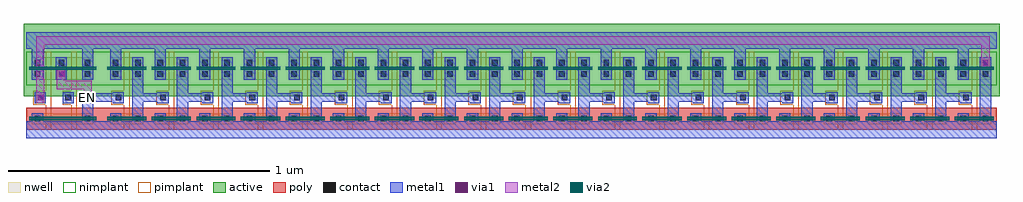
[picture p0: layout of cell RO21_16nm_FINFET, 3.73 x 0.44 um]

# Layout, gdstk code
import gdstk
lib = gdstk.Library(unit=1e-6, precision=1e-09)
def R(c, l, rs):  # rectangles x0, y0, x1, y1
    for r in rs: c.add(gdstk.rectangle(r[:2], r[2:], *l))
def A(c, l, x, y, w, h, nx, ny, dx, dy):  # array of equal rectangles
    R(c, l, [(x+i*dx, y+j*dy, x+i*dx+w, y+j*dy+h) for i in range(nx) for j in range(ny)])
active = (1, 0)
nwell = (2, 0)
poly = (3, 0)
nimplant = (4, 0)
pimplant = (5, 0)
contact = (6, 0)
metal1 = (7, 0)
via1 = (8, 0)
metal2 = (9, 0)
via2 = (10, 0)

ro21_16nm_finfet = lib.new_cell('RO21_16nm_FINFET')
A(ro21_16nm_finfet, active, 0.629, 0.16, 0.192, 0.277, 3, 1, 0.171, 0)
A(ro21_16nm_finfet, active, 1.141, 0.16, 0.192, 0.277, 3, 1, 0.171, 0)
A(ro21_16nm_finfet, active, 1.653, 0.16, 0.192, 0.277, 3, 1, 0.171, 0)
A(ro21_16nm_finfet, active, 2.165, 0.16, 0.192, 0.277, 3, 1, 0.171, 0)
A(ro21_16nm_finfet, active, 2.677, 0.16, 0.192, 0.277, 3, 1, 0.171, 0)
A(ro21_16nm_finfet, active, 3.189, 0.16, 0.192, 0.277, 3, 1, 0.171, 0)
R(ro21_16nm_finfet, active, [(-0.011,0.16,0.309,0.437), (0.288,0.16,0.48,0.437), (0.459,0.16,0.651,0.437)])
A(ro21_16nm_finfet, nwell, 0.661, 0.053, 0.128, 0.043, 3, 1, 0.171, 0)
A(ro21_16nm_finfet, nwell, 1.173, 0.053, 0.128, 0.043, 3, 1, 0.171, 0)
A(ro21_16nm_finfet, nwell, 1.685, 0.053, 0.128, 0.043, 3, 1, 0.171, 0)
A(ro21_16nm_finfet, nwell, 2.197, 0.053, 0.128, 0.043, 3, 1, 0.171, 0)
A(ro21_16nm_finfet, nwell, 2.709, 0.053, 0.128, 0.043, 3, 1, 0.171, 0)
A(ro21_16nm_finfet, nwell, 3.221, 0.053, 0.128, 0.043, 3, 1, 0.171, 0)
A(ro21_16nm_finfet, nwell, 0.661, 0.224, 0.128, 0.085, 3, 1, 0.171, 0)
A(ro21_16nm_finfet, nwell, 1.173, 0.224, 0.128, 0.085, 3, 1, 0.171, 0)
A(ro21_16nm_finfet, nwell, 1.685, 0.224, 0.128, 0.085, 3, 1, 0.171, 0)
A(ro21_16nm_finfet, nwell, 2.197, 0.224, 0.128, 0.085, 3, 1, 0.171, 0)
A(ro21_16nm_finfet, nwell, 2.709, 0.224, 0.128, 0.085, 3, 1, 0.171, 0)
A(ro21_16nm_finfet, nwell, 3.221, 0.224, 0.128, 0.085, 3, 1, 0.171, 0)
R(ro21_16nm_finfet, nwell, [(0.021,0.053,0.256,0.096), (0.32,0.053,0.448,0.096), (0.491,0.053,0.619,0.096), (0.021,0.224,0.256,0.309), (0.32,0.224,0.448,0.309), (0.491,0.224,0.619,0.309)])
A(ro21_16nm_finfet, poly, 0.299, 0.032, 0.17, 0.085, 7, 1, 0.512, 0)
R(ro21_16nm_finfet, poly, [(0,0.032,0.299,0.117), (0.469,0.032,0.64,0.117), (0.64,0.032,0.811,0.117), (0.981,0.032,1.152,0.117), (1.152,0.032,1.323,0.117), (1.493,0.032,1.664,0.117), (1.664,0.032,1.835,0.117), (2.005,0.032,2.176,0.117), (2.176,0.032,2.347,0.117), (2.517,0.032,2.688,0.117), (2.688,0.032,2.859,0.117), (3.029,0.032,3.2,0.117), (3.2,0.032,3.371,0.117), (3.541,0.032,3.712,0.117)])
A(ro21_16nm_finfet, nimplant, 0.299, 0.203, 0.17, 0.128, 7, 1, 0.512, 0)
R(ro21_16nm_finfet, nimplant, [(0,0.203,0.299,0.331), (0.469,0.203,0.64,0.331), (0.64,0.203,0.811,0.331), (0.981,0.203,1.152,0.331), (1.152,0.203,1.323,0.331), (1.493,0.203,1.664,0.331), (1.664,0.203,1.835,0.331), (2.005,0.203,2.176,0.331), (2.176,0.203,2.347,0.331), (2.517,0.203,2.688,0.331), (2.688,0.203,2.859,0.331), (3.029,0.203,3.2,0.331), (3.2,0.203,3.371,0.331), (3.541,0.203,3.712,0.331)])
A(ro21_16nm_finfet, pimplant, 0.373, 0.032, 0.022, 0.299, 7, 1, 0.512, 0)
A(ro21_16nm_finfet, pimplant, 0.325, 0.128, 0.054, 0.053, 7, 1, 0.512, 0)
R(ro21_16nm_finfet, pimplant, [(0.075,0.032,0.096,0.331), (0.171,0.032,0.192,0.331), (0.544,0.032,0.565,0.331), (0.715,0.032,0.736,0.331), (1.056,0.032,1.077,0.331), (1.227,0.032,1.248,0.331), (1.568,0.032,1.589,0.331), (1.739,0.032,1.76,0.331), (2.08,0.032,2.101,0.331), (2.251,0.032,2.272,0.331), (2.592,0.032,2.613,0.331), (2.763,0.032,2.784,0.331), (3.104,0.032,3.125,0.331), (3.275,0.032,3.296,0.331), (3.616,0.032,3.637,0.331), (0.027,0.128,0.08,0.181), (0.139,0.128,0.192,0.181), (0.496,0.128,0.549,0.181), (0.667,0.128,0.72,0.181), (1.008,0.128,1.061,0.181), (1.179,0.128,1.232,0.181), (1.52,0.128,1.573,0.181), (1.691,0.128,1.744,0.181), (2.032,0.128,2.085,0.181), (2.203,0.128,2.256,0.181), (2.544,0.128,2.597,0.181), (2.715,0.128,2.768,0.181), (3.056,0.128,3.109,0.181), (3.227,0.128,3.28,0.181), (3.568,0.128,3.621,0.181)])
A(ro21_16nm_finfet, contact, 0.501, 0.064, 0.022, 0.021, 13, 2, 0.256, 0.171)
A(ro21_16nm_finfet, contact, 0.341, 0.144, 0.022, 0.021, 7, 1, 0.512, 0)
A(ro21_16nm_finfet, contact, 0.501, 0.277, 0.022, 0.022, 13, 1, 0.256, 0)
R(ro21_16nm_finfet, contact, [(0.032,0.064,0.053,0.085), (0.224,0.064,0.245,0.085), (0.331,0.064,0.352,0.085), (0.416,0.064,0.437,0.085), (0.587,0.064,0.608,0.085), (0.672,0.064,0.693,0.085), (0.843,0.064,0.864,0.085), (0.928,0.064,0.949,0.085), (1.099,0.064,1.12,0.085), (1.184,0.064,1.205,0.085), (1.355,0.064,1.376,0.085), (1.44,0.064,1.461,0.085), (1.611,0.064,1.632,0.085), (1.696,0.064,1.717,0.085), (1.867,0.064,1.888,0.085), (1.952,0.064,1.973,0.085), (2.123,0.064,2.144,0.085), (2.208,0.064,2.229,0.085), (2.379,0.064,2.4,0.085), (2.464,0.064,2.485,0.085), (2.635,0.064,2.656,0.085), (2.72,0.064,2.741,0.085), (2.891,0.064,2.912,0.085), (2.976,0.064,2.997,0.085), (3.147,0.064,3.168,0.085), (3.232,0.064,3.253,0.085), (3.403,0.064,3.424,0.085), (3.488,0.064,3.509,0.085), (3.659,0.064,3.68,0.085), (0.043,0.144,0.064,0.165), (0.149,0.144,0.171,0.165), (0.512,0.144,0.533,0.165), (0.683,0.144,0.704,0.165), (1.024,0.144,1.045,0.165), (1.195,0.144,1.216,0.165), (1.536,0.144,1.557,0.165), (1.707,0.144,1.728,0.165), (2.048,0.144,2.069,0.165), (2.219,0.144,2.24,0.165), (2.56,0.144,2.581,0.165), (2.731,0.144,2.752,0.165), (3.072,0.144,3.093,0.165), (3.243,0.144,3.264,0.165), (3.584,0.144,3.605,0.165), (0.032,0.235,0.053,0.256), (0.123,0.235,0.144,0.256), (0.224,0.235,0.245,0.256), (0.331,0.235,0.352,0.256), (0.416,0.235,0.437,0.256), (0.587,0.235,0.608,0.256), (0.672,0.235,0.693,0.256), (0.843,0.235,0.864,0.256), (0.928,0.235,0.949,0.256), (1.099,0.235,1.12,0.256), (1.184,0.235,1.205,0.256), (1.355,0.235,1.376,0.256), (1.44,0.235,1.461,0.256), (1.611,0.235,1.632,0.256), (1.696,0.235,1.717,0.256), (1.867,0.235,1.888,0.256), (1.952,0.235,1.973,0.256), (2.123,0.235,2.144,0.256), (2.208,0.235,2.229,0.256), (2.379,0.235,2.4,0.256), (2.464,0.235,2.485,0.256), (2.635,0.235,2.656,0.256), (2.72,0.235,2.741,0.256), (2.891,0.235,2.912,0.256), (2.976,0.235,2.997,0.256), (3.147,0.235,3.168,0.256), (3.232,0.235,3.253,0.256), (3.403,0.235,3.424,0.256), (3.488,0.235,3.509,0.256), (3.659,0.235,3.68,0.256), (0.032,0.277,0.053,0.299), (0.123,0.277,0.144,0.299), (0.224,0.277,0.245,0.299), (0.331,0.277,0.352,0.299), (0.416,0.277,0.437,0.299), (0.587,0.277,0.608,0.299), (0.672,0.277,0.693,0.299), (0.843,0.277,0.864,0.299), (0.928,0.277,0.949,0.299), (1.099,0.277,1.12,0.299), (1.184,0.277,1.205,0.299), (1.355,0.277,1.376,0.299), (1.44,0.277,1.461,0.299), (1.611,0.277,1.632,0.299), (1.696,0.277,1.717,0.299), (1.867,0.277,1.888,0.299), (1.952,0.277,1.973,0.299), (2.123,0.277,2.144,0.299), (2.208,0.277,2.229,0.299), (2.379,0.277,2.4,0.299), (2.464,0.277,2.485,0.299), (2.635,0.277,2.656,0.299), (2.72,0.277,2.741,0.299), (2.891,0.277,2.912,0.299), (2.976,0.277,2.997,0.299), (3.147,0.277,3.168,0.299), (3.232,0.277,3.253,0.299), (3.403,0.277,3.424,0.299), (3.488,0.277,3.509,0.299), (3.659,0.277,3.68,0.299)])
A(ro21_16nm_finfet, metal1, 0.299, 0, 0.17, 0.064, 7, 2, 0.512, 0.341)
A(ro21_16nm_finfet, metal1, 0.491, 0, 0.042, 0.096, 7, 1, 0.512, 0)
A(ro21_16nm_finfet, metal1, 0.747, 0.053, 0.042, 0.256, 6, 1, 0.512, 0)
A(ro21_16nm_finfet, metal1, 0.331, 0.133, 0.042, 0.043, 7, 1, 0.512, 0)
A(ro21_16nm_finfet, metal1, 0.789, 0.139, 0.054, 0.032, 6, 1, 0.512, 0)
A(ro21_16nm_finfet, metal1, 0.491, 0.224, 0.042, 0.181, 7, 1, 0.512, 0)
R(ro21_16nm_finfet, metal1, [(0,0,0.299,0.064), (0.021,0,0.064,0.096), (0.32,0,0.363,0.096), (0.469,0,0.64,0.064), (0.64,0,0.811,0.064), (0.661,0,0.704,0.096), (0.832,0,0.875,0.096), (0.981,0,1.152,0.064), (1.152,0,1.323,0.064), (1.173,0,1.216,0.096), (1.344,0,1.387,0.096), (1.493,0,1.664,0.064), (1.664,0,1.835,0.064), (1.685,0,1.728,0.096), (1.856,0,1.899,0.096), (2.005,0,2.176,0.064), (2.176,0,2.347,0.064), (2.197,0,2.24,0.096), (2.368,0,2.411,0.096), (2.517,0,2.688,0.064), (2.688,0,2.859,0.064), (2.709,0,2.752,0.096), (2.88,0,2.923,0.096), (3.029,0,3.2,0.064), (3.2,0,3.371,0.064), (3.221,0,3.264,0.096), (3.392,0,3.435,0.096), (3.541,0,3.712,0.064), (0.213,0.053,0.256,0.171), (0.405,0.053,0.448,0.309), (0.576,0.053,0.619,0.309), (0.917,0.053,0.96,0.309), (1.088,0.053,1.131,0.309), (1.429,0.053,1.472,0.309), (1.6,0.053,1.643,0.309), (1.941,0.053,1.984,0.309), (2.112,0.053,2.155,0.309), (2.453,0.053,2.496,0.309), (2.624,0.053,2.667,0.309), (2.965,0.053,3.008,0.309), (3.136,0.053,3.179,0.309), (3.477,0.053,3.52,0.309), (3.648,0.053,3.691,0.309), (0.032,0.133,0.075,0.176), (0.139,0.133,0.181,0.176), (0.501,0.133,0.544,0.176), (0.672,0.133,0.715,0.176), (1.013,0.133,1.056,0.176), (1.184,0.133,1.227,0.176), (1.525,0.133,1.568,0.176), (1.696,0.133,1.739,0.176), (2.037,0.133,2.08,0.176), (2.208,0.133,2.251,0.176), (2.549,0.133,2.592,0.176), (2.72,0.133,2.763,0.176), (3.061,0.133,3.104,0.176), (3.232,0.133,3.275,0.176), (3.573,0.133,3.616,0.176), (0.256,0.139,0.331,0.171), (0.448,0.139,0.501,0.171), (0.619,0.139,0.672,0.171), (0.96,0.139,1.013,0.171), (1.131,0.139,1.184,0.171), (1.472,0.139,1.525,0.171), (1.643,0.139,1.696,0.171), (1.984,0.139,2.037,0.171), (2.155,0.139,2.208,0.171), (2.496,0.139,2.549,0.171), (2.667,0.139,2.72,0.171), (3.008,0.139,3.061,0.171), (3.179,0.139,3.232,0.171), (3.52,0.139,3.573,0.171), (0.021,0.224,0.064,0.405), (0.112,0.224,0.155,0.309), (0.213,0.224,0.256,0.405), (0.32,0.224,0.363,0.405), (0.661,0.224,0.704,0.405), (0.832,0.224,0.875,0.405), (1.173,0.224,1.216,0.405), (1.344,0.224,1.387,0.405), (1.685,0.224,1.728,0.405), (1.856,0.224,1.899,0.405), (2.197,0.224,2.24,0.405), (2.368,0.224,2.411,0.405), (2.709,0.224,2.752,0.405), (2.88,0.224,2.923,0.405), (3.221,0.224,3.264,0.405), (3.392,0.224,3.435,0.405), (0,0.341,0.299,0.405), (0.469,0.341,0.64,0.405), (0.64,0.341,0.811,0.405), (0.981,0.341,1.152,0.405), (1.152,0.341,1.323,0.405), (1.493,0.341,1.664,0.405), (1.664,0.341,1.835,0.405), (2.005,0.341,2.176,0.405), (2.176,0.341,2.347,0.405), (2.517,0.341,2.688,0.405), (2.688,0.341,2.859,0.405), (3.029,0.341,3.2,0.405), (3.2,0.341,3.371,0.405), (3.541,0.341,3.712,0.405)])
R(ro21_16nm_finfet, via1, [(0.224,0.139,0.245,0.16), (0.043,0.144,0.064,0.165), (0.123,0.235,0.144,0.256), (3.659,0.277,3.68,0.299)])
R(ro21_16nm_finfet, metal2, [(0.037,0.133,0.069,0.389), (0.219,0.133,0.251,0.219), (0.117,0.187,0.251,0.219), (0.117,0.187,0.149,0.261), (3.653,0.272,3.685,0.389), (0.037,0.357,3.685,0.389)])
A(ro21_16nm_finfet, via2, 0.309, 0.069, 0.15, 0.012, 7, 2, 0.512, 0.192)
R(ro21_16nm_finfet, via2, [(0.011,0.069,0.267,0.081), (0.48,0.069,0.629,0.081), (0.651,0.069,0.8,0.081), (0.992,0.069,1.141,0.081), (1.163,0.069,1.312,0.081), (1.504,0.069,1.653,0.081), (1.675,0.069,1.824,0.081), (2.016,0.069,2.165,0.081), (2.187,0.069,2.336,0.081), (2.528,0.069,2.677,0.081), (2.699,0.069,2.848,0.081), (3.04,0.069,3.189,0.081), (3.211,0.069,3.36,0.081), (3.552,0.069,3.701,0.081), (0.011,0.261,0.267,0.273), (0.48,0.261,0.629,0.273), (0.651,0.261,0.8,0.273), (0.992,0.261,1.141,0.273), (1.163,0.261,1.312,0.273), (1.504,0.261,1.653,0.273), (1.675,0.261,1.824,0.273), (2.016,0.261,2.165,0.273), (2.187,0.261,2.336,0.273), (2.528,0.261,2.677,0.273), (2.699,0.261,2.848,0.273), (3.04,0.261,3.189,0.273), (3.211,0.261,3.36,0.273), (3.552,0.261,3.701,0.273)])
ro21_16nm_finfet.add(gdstk.Label('EN', (0.235,0.155), layer=7, texttype=0))

lib.write_gds('RO21_16nm_FINFET.gds')
